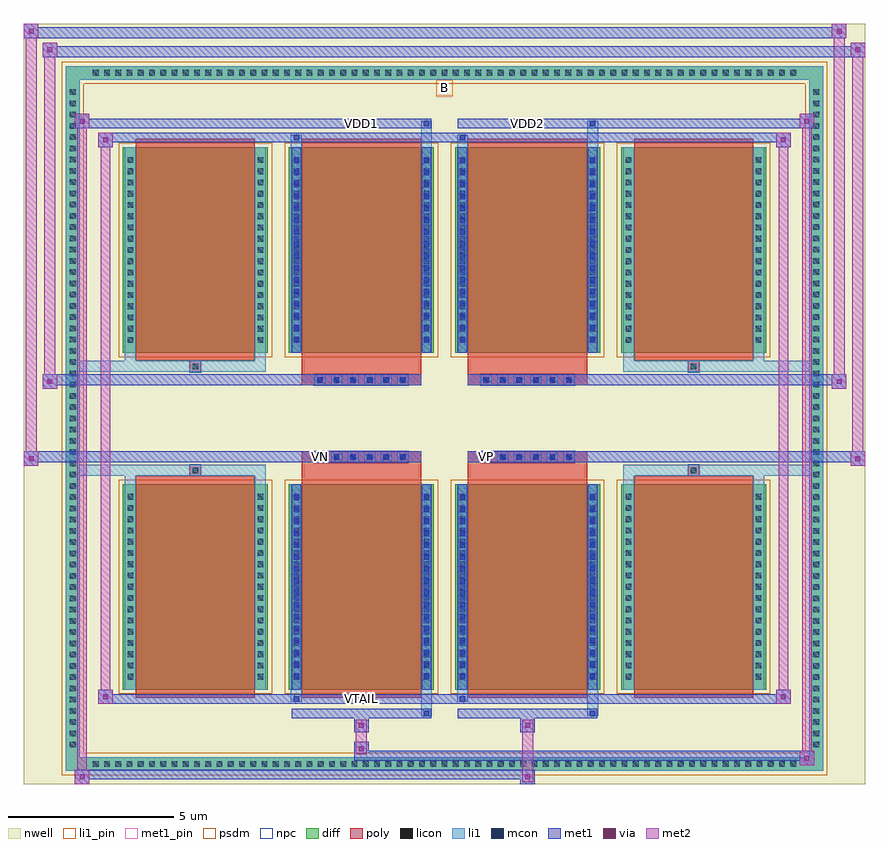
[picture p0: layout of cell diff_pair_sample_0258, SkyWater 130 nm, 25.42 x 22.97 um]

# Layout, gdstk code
import gdstk
lib = gdstk.Library(unit=1e-6, precision=5e-09)
def R(c, l, rs):  # rectangles x0, y0, x1, y1
    for r in rs: c.add(gdstk.rectangle(r[:2], r[2:], *l))
def A(c, l, x, y, w, h, nx, ny, dx, dy):  # array of equal rectangles
    R(c, l, [(x+i*dx, y+j*dy, x+i*dx+w, y+j*dy+h) for i in range(nx) for j in range(ny)])
def P(c, l, *ps):  # polygons
    for p in ps: c.add(gdstk.Polygon(p, *l))
nwell = (64, 20)
diff = (65, 20)
poly = (66, 20)
licon = (66, 44)
li1_pin = (67, 16)
li1 = (67, 20)
mcon = (67, 44)
met1_pin = (68, 16)
met1 = (68, 20)
via = (68, 44)
met2 = (69, 20)
psdm = (94, 20)
npc = (95, 20)

diff_pair_sample_0258 = lib.new_cell('diff_pair_sample_0258')
R(diff_pair_sample_0258, nwell, [(-12.71,-11.05,12.71,11.92), (-10.03,-9.24,-0.01,-0.8), (0.01,-9.24,10.03,-0.8), (-10.03,0.8,-0.01,9.24), (0.01,0.8,10.03,9.24)])
A(diff_pair_sample_0258, diff, -10.745, -10.65, 0.41, 0.41, 63, 2, 0.34, 20.89)
A(diff_pair_sample_0258, diff, -11.44, -10.065, 0.41, 0.41, 1, 59, 0, 0.34)
A(diff_pair_sample_0258, diff, 11.03, -10.065, 0.41, 0.41, 1, 59, 0, 0.34)
A(diff_pair_sample_0258, diff, -9.72, -8.195, 4.38, 6.21, 4, 2, 5.02, 10.18)
R(diff_pair_sample_0258, diff, [(-10.745,-10.65,10.745,-10.24), (-11.44,-10.065,-11.03,10.065), (11.03,-10.065,11.44,10.065), (-10.745,10.24,10.745,10.65)])
P(diff_pair_sample_0258, diff, [(11.44,10.65),(-11.44,10.65),(-11.44,-10.24),(-11.03,-10.24),(-11.03,10.24),(11.03,10.24),(11.03,-10.24),(-11.03,-10.24),(-11.44,-10.24),(-11.44,-10.65),(11.44,-10.65)])
A(diff_pair_sample_0258, poly, -9.33, -8.445, 3.6, 6.71, 4, 2, 5.02, 10.18)
A(diff_pair_sample_0258, poly, -3.925, -1.33, 0.33, 0.33, 6, 2, 0.5, 2.33)
A(diff_pair_sample_0258, poly, 1.095, -1.33, 0.33, 0.33, 6, 2, 0.5, 2.33)
R(diff_pair_sample_0258, poly, [(-7.695,-1.735,-7.365,-1.405), (-7.695,-1.735,-7.365,-1.405), (-4.31,-1.735,-0.71,-1.33), (0.71,-1.735,4.31,-1.33), (7.365,-1.735,7.695,-1.405), (7.365,-1.735,7.695,-1.405), (-4.31,-1.33,-0.71,-1), (0.71,-1.33,4.31,-1), (-4.31,1,-0.71,1.33), (0.71,1,4.31,1.33), (-4.31,1.33,-0.71,1.735), (0.71,1.33,4.31,1.735), (-7.695,1.405,-7.365,1.735), (-7.695,1.405,-7.365,1.735), (7.365,1.405,7.695,1.735), (7.365,1.405,7.695,1.735)])
A(diff_pair_sample_0258, licon, -10.625, -10.53, 0.17, 0.17, 63, 2, 0.34, 20.89)
A(diff_pair_sample_0258, licon, -11.32, -9.945, 0.17, 0.17, 1, 59, 0, 0.34)
A(diff_pair_sample_0258, licon, 11.15, -9.945, 0.17, 0.17, 1, 59, 0, 0.34)
A(diff_pair_sample_0258, licon, -9.58, -7.895, 0.17, 0.17, 1, 17, 0, 0.34)
A(diff_pair_sample_0258, licon, -5.65, -7.895, 0.17, 0.17, 1, 17, 0, 0.34)
A(diff_pair_sample_0258, licon, -4.56, -7.895, 0.17, 0.17, 1, 17, 0, 0.34)
A(diff_pair_sample_0258, licon, -0.63, -7.895, 0.17, 0.17, 1, 17, 0, 0.34)
A(diff_pair_sample_0258, licon, 0.46, -7.895, 0.17, 0.17, 1, 17, 0, 0.34)
A(diff_pair_sample_0258, licon, 4.39, -7.895, 0.17, 0.17, 1, 17, 0, 0.34)
A(diff_pair_sample_0258, licon, 5.48, -7.895, 0.17, 0.17, 1, 17, 0, 0.34)
A(diff_pair_sample_0258, licon, 9.41, -7.895, 0.17, 0.17, 1, 17, 0, 0.34)
A(diff_pair_sample_0258, licon, -3.845, -1.25, 0.17, 0.17, 6, 2, 0.5, 2.33)
A(diff_pair_sample_0258, licon, 1.175, -1.25, 0.17, 0.17, 6, 2, 0.5, 2.33)
A(diff_pair_sample_0258, licon, -9.58, 2.285, 0.17, 0.17, 1, 17, 0, 0.34)
A(diff_pair_sample_0258, licon, -5.65, 2.285, 0.17, 0.17, 1, 17, 0, 0.34)
A(diff_pair_sample_0258, licon, -4.56, 2.285, 0.17, 0.17, 1, 17, 0, 0.34)
A(diff_pair_sample_0258, licon, -0.63, 2.285, 0.17, 0.17, 1, 17, 0, 0.34)
A(diff_pair_sample_0258, licon, 0.46, 2.285, 0.17, 0.17, 1, 17, 0, 0.34)
A(diff_pair_sample_0258, licon, 4.39, 2.285, 0.17, 0.17, 1, 17, 0, 0.34)
A(diff_pair_sample_0258, licon, 5.48, 2.285, 0.17, 0.17, 1, 17, 0, 0.34)
A(diff_pair_sample_0258, licon, 9.41, 2.285, 0.17, 0.17, 1, 17, 0, 0.34)
R(diff_pair_sample_0258, licon, [(-7.615,-1.655,-7.445,-1.485), (7.445,-1.655,7.615,-1.485), (-7.615,1.485,-7.445,1.655), (7.445,1.485,7.615,1.655)])
R(diff_pair_sample_0258, li1_pin, [(-0.25,9.74,0.25,10.24)])
A(diff_pair_sample_0258, li1, -10.705, -10.61, 0.33, 0.33, 63, 2, 0.34, 20.89)
A(diff_pair_sample_0258, li1, -11.4, -10.025, 0.33, 0.33, 1, 59, 0, 0.34)
A(diff_pair_sample_0258, li1, 11.07, -10.025, 0.33, 0.33, 1, 59, 0, 0.34)
A(diff_pair_sample_0258, li1, -9.66, -7.975, 0.33, 0.33, 1, 17, 0, 0.34)
A(diff_pair_sample_0258, li1, -5.73, -7.975, 0.33, 0.33, 1, 17, 0, 0.34)
A(diff_pair_sample_0258, li1, -4.64, -7.975, 0.33, 0.33, 1, 17, 0, 0.34)
A(diff_pair_sample_0258, li1, -0.71, -7.975, 0.33, 0.33, 1, 17, 0, 0.34)
A(diff_pair_sample_0258, li1, 0.38, -7.975, 0.33, 0.33, 1, 17, 0, 0.34)
A(diff_pair_sample_0258, li1, 4.31, -7.975, 0.33, 0.33, 1, 17, 0, 0.34)
A(diff_pair_sample_0258, li1, 5.4, -7.975, 0.33, 0.33, 1, 17, 0, 0.34)
A(diff_pair_sample_0258, li1, 9.33, -7.975, 0.33, 0.33, 1, 17, 0, 0.34)
A(diff_pair_sample_0258, li1, -4.56, -7.875, 0.17, 0.17, 1, 16, 0, 0.36)
A(diff_pair_sample_0258, li1, -0.63, -7.875, 0.17, 0.17, 1, 16, 0, 0.36)
A(diff_pair_sample_0258, li1, 0.46, -7.875, 0.17, 0.17, 1, 16, 0, 0.36)
A(diff_pair_sample_0258, li1, 4.39, -7.875, 0.17, 0.17, 1, 16, 0, 0.36)
A(diff_pair_sample_0258, li1, -3.925, -1.33, 0.33, 0.33, 6, 2, 0.5, 2.33)
A(diff_pair_sample_0258, li1, 1.095, -1.33, 0.33, 0.33, 6, 2, 0.5, 2.33)
A(diff_pair_sample_0258, li1, -9.66, 2.205, 0.33, 0.33, 1, 17, 0, 0.34)
A(diff_pair_sample_0258, li1, -5.73, 2.205, 0.33, 0.33, 1, 17, 0, 0.34)
A(diff_pair_sample_0258, li1, -4.64, 2.205, 0.33, 0.33, 1, 17, 0, 0.34)
A(diff_pair_sample_0258, li1, -0.71, 2.205, 0.33, 0.33, 1, 17, 0, 0.34)
A(diff_pair_sample_0258, li1, 0.38, 2.205, 0.33, 0.33, 1, 17, 0, 0.34)
A(diff_pair_sample_0258, li1, 4.31, 2.205, 0.33, 0.33, 1, 17, 0, 0.34)
A(diff_pair_sample_0258, li1, 5.4, 2.205, 0.33, 0.33, 1, 17, 0, 0.34)
A(diff_pair_sample_0258, li1, 9.33, 2.205, 0.33, 0.33, 1, 17, 0, 0.34)
A(diff_pair_sample_0258, li1, -4.56, 2.305, 0.17, 0.17, 1, 16, 0, 0.36)
A(diff_pair_sample_0258, li1, -0.63, 2.305, 0.17, 0.17, 1, 16, 0, 0.36)
A(diff_pair_sample_0258, li1, 0.46, 2.305, 0.17, 0.17, 1, 16, 0, 0.36)
A(diff_pair_sample_0258, li1, 4.39, 2.305, 0.17, 0.17, 1, 16, 0, 0.36)
R(diff_pair_sample_0258, li1, [(-11.44,-10.65,-11.03,-10.24), (-11.44,-10.65,-11.03,-10.24), (-11.03,-10.65,11.03,-10.24), (11.03,-10.65,11.44,-10.24), (11.03,-10.65,11.44,-10.24), (-11.44,-10.24,-11.03,10.24), (11.03,-10.24,11.44,10.24), (-0.71,-9,-0.38,-8.195), (-0.63,-9,-0.46,-8.83), (4.31,-9,4.64,-8.195), (4.39,-9,4.56,-8.83), (-4.64,-8.57,-4.31,-8.195), (-4.56,-8.57,-4.39,-8.4), (0.38,-8.57,0.71,-8.195), (0.46,-8.57,0.63,-8.4), (-9.66,-8.195,-9.33,-1.985), (-5.73,-8.195,-5.4,-1.985), (-4.64,-8.195,-4.31,-1.985), (-0.71,-8.195,-0.38,-1.985), (0.38,-8.195,0.71,-1.985), (4.31,-8.195,4.64,-1.985), (5.4,-8.195,5.73,-1.985), (9.33,-8.195,9.66,-1.985), (-4.56,-7.875,-4.39,-2.305), (-0.63,-7.875,-0.46,-2.305), (0.46,-7.875,0.63,-2.305), (4.39,-7.875,4.56,-2.305), (-9.66,-1.985,-9.33,-1.405), (-5.73,-1.985,-5.4,-1.405), (5.4,-1.985,5.73,-1.405), (9.33,-1.985,9.66,-1.405), (-11.44,-1.735,-7.695,-1.405), (-9.66,-1.735,-7.695,-1.405), (-7.695,-1.735,-7.365,-1.405), (-7.365,-1.735,-5.4,-1.405), (5.4,-1.735,7.365,-1.405), (7.365,-1.735,7.695,-1.405), (7.365,-1.735,11.44,-1.405), (7.695,-1.735,9.66,-1.405), (-11.44,1.405,-7.695,1.735), (-9.66,1.405,-7.695,1.735), (-9.66,1.405,-9.33,1.985), (-7.695,1.405,-7.365,1.735), (-7.365,1.405,-5.4,1.735), (-5.73,1.405,-5.4,1.985), (5.4,1.405,7.365,1.735), (5.4,1.405,5.73,1.985), (7.365,1.405,7.695,1.735), (7.365,1.405,11.44,1.735), (7.695,1.405,9.66,1.735), (9.33,1.405,9.66,1.985), (-9.66,1.985,-9.33,8.195), (-5.73,1.985,-5.4,8.195), (-4.64,1.985,-4.31,8.195), (-0.71,1.985,-0.38,8.195), (0.38,1.985,0.71,8.195), (4.31,1.985,4.64,8.195), (5.4,1.985,5.73,8.195), (9.33,1.985,9.66,8.195), (-4.56,2.305,-4.39,7.875), (-0.63,2.305,-0.46,7.875), (0.46,2.305,0.63,7.875), (4.39,2.305,4.56,7.875), (-4.64,8.195,-4.31,8.57), (-0.71,8.195,-0.38,9), (0.38,8.195,0.71,8.57), (4.31,8.195,4.64,9), (-4.56,8.4,-4.39,8.57), (0.46,8.4,0.63,8.57), (-0.63,8.83,-0.46,9), (4.39,8.83,4.56,9), (-11.44,10.24,-11.03,10.65), (-11.44,10.24,-11.03,10.65), (-11.03,10.24,11.03,10.65), (11.03,10.24,11.44,10.65), (11.03,10.24,11.44,10.65)])
A(diff_pair_sample_0258, mcon, -4.56, -7.875, 0.17, 0.17, 1, 16, 0, 0.36)
A(diff_pair_sample_0258, mcon, -0.63, -7.875, 0.17, 0.17, 1, 16, 0, 0.36)
A(diff_pair_sample_0258, mcon, 0.46, -7.875, 0.17, 0.17, 1, 16, 0, 0.36)
A(diff_pair_sample_0258, mcon, 4.39, -7.875, 0.17, 0.17, 1, 16, 0, 0.36)
A(diff_pair_sample_0258, mcon, -3.845, -1.25, 0.17, 0.17, 6, 2, 0.5, 2.33)
A(diff_pair_sample_0258, mcon, 1.175, -1.25, 0.17, 0.17, 6, 2, 0.5, 2.33)
A(diff_pair_sample_0258, mcon, -4.56, 2.305, 0.17, 0.17, 1, 16, 0, 0.36)
A(diff_pair_sample_0258, mcon, -0.63, 2.305, 0.17, 0.17, 1, 16, 0, 0.36)
A(diff_pair_sample_0258, mcon, 0.46, 2.305, 0.17, 0.17, 1, 16, 0, 0.36)
A(diff_pair_sample_0258, mcon, 4.39, 2.305, 0.17, 0.17, 1, 16, 0, 0.36)
R(diff_pair_sample_0258, mcon, [(-0.63,-9,-0.46,-8.83), (4.39,-9,4.56,-8.83), (-4.56,-8.57,-4.39,-8.4), (0.46,-8.57,0.63,-8.4), (-4.56,8.4,-4.39,8.57), (0.46,8.4,0.63,8.57), (-0.63,8.83,-0.46,9), (4.39,8.83,4.56,9)])
R(diff_pair_sample_0258, met1_pin, [(-2.645,-8.61,-2.375,-8.34), (-3.895,-1.29,-3.625,-1.02), (1.125,-1.29,1.395,-1.02), (-2.645,8.79,-2.375,9.06), (2.375,8.79,2.645,9.06)])
A(diff_pair_sample_0258, met1, -4.62, -7.935, 0.29, 0.29, 1, 16, 0, 0.36)
A(diff_pair_sample_0258, met1, -0.69, -7.935, 0.29, 0.29, 1, 16, 0, 0.36)
A(diff_pair_sample_0258, met1, 0.4, -7.935, 0.29, 0.29, 1, 16, 0, 0.36)
A(diff_pair_sample_0258, met1, 4.33, -7.935, 0.29, 0.29, 1, 16, 0, 0.36)
A(diff_pair_sample_0258, met1, -3.905, -1.31, 0.29, 0.29, 6, 2, 0.5, 2.33)
A(diff_pair_sample_0258, met1, 1.115, -1.31, 0.29, 0.29, 6, 2, 0.5, 2.33)
A(diff_pair_sample_0258, met1, -4.62, 2.245, 0.29, 0.29, 1, 16, 0, 0.36)
A(diff_pair_sample_0258, met1, -0.69, 2.245, 0.29, 0.29, 1, 16, 0, 0.36)
A(diff_pair_sample_0258, met1, 0.4, 2.245, 0.29, 0.29, 1, 16, 0, 0.36)
A(diff_pair_sample_0258, met1, 4.33, 2.245, 0.29, 0.29, 1, 16, 0, 0.36)
R(diff_pair_sample_0258, met1, [(-11.17,-11.05,-10.74,-10.62), (2.295,-11.05,2.725,-10.62), (-11.17,-10.91,2.725,-10.62), (10.74,-10.48,11.17,-10.05), (-2.725,-10.34,11.17,-10.05), (-2.725,-10.2,-2.295,-9.77), (-2.725,-9.49,-2.295,-9.06), (2.295,-9.49,2.725,-9.06), (-4.62,-9.06,-0.4,-8.77), (-0.69,-9.06,-0.4,-8.77), (0.4,-9.06,4.62,-8.77), (4.33,-9.06,4.62,-8.77), (-10.46,-8.63,-10.03,-8.2), (-10.46,-8.63,-4.62,-8.34), (-4.62,-8.63,-4.33,-8.34), (-4.62,-8.63,-0.4,-8.34), (-0.4,-8.63,0.4,-8.34), (0.4,-8.63,0.69,-8.34), (0.4,-8.63,4.62,-8.34), (4.62,-8.63,10.46,-8.34), (10.03,-8.63,10.46,-8.2), (-4.62,-8.195,-4.33,-1.985), (-0.69,-8.195,-0.4,-1.985), (0.4,-8.195,0.69,-1.985), (4.33,-8.195,4.62,-1.985), (-12.71,-1.43,-12.28,-1), (12.28,-1.43,12.71,-1), (-12.71,-1.33,-0.71,-1), (-4.31,-1.33,-0.71,-1), (0.71,-1.33,4.31,-1), (0.71,-1.33,12.71,-1), (-12.14,0.9,-11.71,1.33), (11.71,0.9,12.14,1.33), (-12.14,1,-4.31,1.33), (-4.31,1,-0.71,1.33), (0.71,1,4.31,1.33), (4.31,1,12.14,1.33), (-4.62,1.985,-4.33,8.195), (-0.69,1.985,-0.4,8.195), (0.4,1.985,0.69,8.195), (4.33,1.985,4.62,8.195), (-10.46,8.2,-10.03,8.63), (10.03,8.2,10.46,8.63), (-10.46,8.34,-4.62,8.63), (-4.62,8.34,-4.33,8.63), (-4.62,8.34,-0.4,8.63), (-0.4,8.34,0.4,8.63), (0.4,8.34,0.69,8.63), (0.4,8.34,4.62,8.63), (4.62,8.34,10.46,8.63), (-11.17,8.77,-10.74,9.2), (-11.17,8.77,-4.62,9.06), (-4.62,8.77,-0.4,9.06), (-0.69,8.77,-0.4,9.06), (0.4,8.77,4.62,9.06), (4.33,8.77,4.62,9.06), (4.62,8.77,11.17,9.06), (10.74,8.77,11.17,9.2), (-12.14,10.92,-11.71,11.35), (-12.14,10.92,-10.03,11.25), (-10.03,10.92,10.03,11.25), (10.03,10.92,12.71,11.25), (12.28,10.92,12.71,11.35), (-12.71,11.49,-12.28,11.92), (-12.71,11.49,-10.03,11.82), (-10.03,11.49,10.03,11.82), (10.03,11.49,12.14,11.82), (11.71,11.49,12.14,11.92)])
R(diff_pair_sample_0258, via, [(-11.03,-10.91,-10.88,-10.76), (2.435,-10.91,2.585,-10.76), (10.88,-10.34,11.03,-10.19), (-2.585,-10.06,-2.435,-9.91), (-2.585,-9.35,-2.435,-9.2), (2.435,-9.35,2.585,-9.2), (-10.32,-8.49,-10.17,-8.34), (10.17,-8.49,10.32,-8.34), (-12.57,-1.29,-12.42,-1.14), (12.42,-1.29,12.57,-1.14), (-12,1.04,-11.85,1.19), (11.85,1.04,12,1.19), (-10.32,8.34,-10.17,8.49), (10.17,8.34,10.32,8.49), (-11.03,8.91,-10.88,9.06), (10.88,8.91,11.03,9.06), (-12,11.06,-11.85,11.21), (12.42,11.06,12.57,11.21), (-12.57,11.63,-12.42,11.78), (11.85,11.63,12,11.78)])
R(diff_pair_sample_0258, met2, [(-11.17,-11.05,-10.74,-10.62), (-11.1,-11.05,-10.81,9.2), (-10.81,-11.05,-10.74,-10.62), (-11.12,-11,-10.79,-10.67), (2.345,-11,2.675,-10.67), (2.345,-10.67,2.675,-9.44), (10.74,-10.48,11.17,-10.05), (10.81,-10.48,11.1,9.2), (11.1,-10.48,11.17,-10.05), (10.79,-10.43,11.12,-10.1), (-2.675,-10.15,-2.345,-9.82), (-2.675,-9.82,-2.345,-9.44), (-2.675,-9.44,-2.345,-9.11), (2.345,-9.44,2.675,-9.11), (-10.46,-8.63,-10.03,-8.2), (-10.39,-8.63,-10.1,8.63), (-10.1,-8.63,-10.03,-8.2), (10.03,-8.63,10.46,-8.2), (10.1,-8.63,10.39,8.63), (10.39,-8.63,10.46,-8.2), (-10.41,-8.58,-10.08,-8.25), (10.08,-8.58,10.41,-8.25), (-12.71,-1.43,-12.28,-1), (-12.66,-1.43,-12.33,11.92), (-12.33,-1.43,-12.28,-1), (12.28,-1.43,12.71,-1), (12.33,-1.43,12.66,11.35), (12.66,-1.43,12.71,-1), (-12.66,-1.38,-12.33,-1.05), (12.33,-1.38,12.66,-1.05), (-12.14,0.9,-11.71,1.33), (-12.09,0.9,-11.76,11.35), (-11.76,0.9,-11.71,1.33), (11.71,0.9,12.14,1.33), (11.76,0.9,12.09,11.92), (12.09,0.9,12.14,1.33), (-12.09,0.95,-11.76,1.28), (11.76,0.95,12.09,1.28), (-10.46,8.2,-10.03,8.63), (-10.1,8.2,-10.03,8.63), (10.03,8.2,10.46,8.63), (10.39,8.2,10.46,8.63), (-10.41,8.25,-10.08,8.58), (10.08,8.25,10.41,8.58), (-11.17,8.77,-10.74,9.2), (-10.81,8.77,-10.74,9.2), (10.74,8.77,11.17,9.2), (11.1,8.77,11.17,9.2), (-11.12,8.82,-10.79,9.15), (10.79,8.82,11.12,9.15), (-12.14,10.92,-11.71,11.35), (-11.76,10.92,-11.71,11.35), (12.28,10.92,12.71,11.35), (12.66,10.92,12.71,11.35), (-12.09,10.97,-11.76,11.3), (12.33,10.97,12.66,11.3), (-12.71,11.49,-12.28,11.92), (-12.33,11.49,-12.28,11.92), (11.71,11.49,12.14,11.92), (12.09,11.49,12.14,11.92), (-12.66,11.54,-12.33,11.87), (11.76,11.54,12.09,11.87)])
A(diff_pair_sample_0258, psdm, -9.85, -8.325, 4.64, 6.47, 4, 2, 5.02, 10.18)
P(diff_pair_sample_0258, psdm, [(11.57,10.78),(-11.57,10.78),(-11.57,-10.11),(-10.9,-10.11),(-10.9,10.11),(10.9,10.11),(10.9,-10.11),(-10.9,-10.11),(-11.57,-10.11),(-11.57,-10.78),(11.57,-10.78)])
A(diff_pair_sample_0258, npc, -3.945, -1.35, 0.37, 0.37, 6, 2, 0.5, 2.33)
A(diff_pair_sample_0258, npc, 1.075, -1.35, 0.37, 0.37, 6, 2, 0.5, 2.33)
R(diff_pair_sample_0258, npc, [(-7.715,-1.755,-7.345,-1.385), (7.345,-1.755,7.715,-1.385), (-3.945,-1.35,-3.075,-0.98), (-3.945,-1.35,-3.075,-0.98), (-3.445,-1.35,-2.575,-0.98), (-3.445,-1.35,-2.575,-0.98), (-2.945,-1.35,-2.075,-0.98), (-2.945,-1.35,-2.075,-0.98), (-2.445,-1.35,-1.575,-0.98), (-2.445,-1.35,-1.575,-0.98), (-1.945,-1.35,-1.075,-0.98), (-1.945,-1.35,-1.075,-0.98), (1.075,-1.35,1.945,-0.98), (1.075,-1.35,1.945,-0.98), (1.575,-1.35,2.445,-0.98), (1.575,-1.35,2.445,-0.98), (2.075,-1.35,2.945,-0.98), (2.075,-1.35,2.945,-0.98), (2.575,-1.35,3.445,-0.98), (2.575,-1.35,3.445,-0.98), (3.075,-1.35,3.945,-0.98), (3.075,-1.35,3.945,-0.98), (-3.945,0.98,-3.075,1.35), (-3.945,0.98,-3.075,1.35), (-3.445,0.98,-2.575,1.35), (-3.445,0.98,-2.575,1.35), (-2.945,0.98,-2.075,1.35), (-2.945,0.98,-2.075,1.35), (-2.445,0.98,-1.575,1.35), (-2.445,0.98,-1.575,1.35), (-1.945,0.98,-1.075,1.35), (-1.945,0.98,-1.075,1.35), (1.075,0.98,1.945,1.35), (1.075,0.98,1.945,1.35), (1.575,0.98,2.445,1.35), (1.575,0.98,2.445,1.35), (2.075,0.98,2.945,1.35), (2.075,0.98,2.945,1.35), (2.575,0.98,3.445,1.35), (2.575,0.98,3.445,1.35), (3.075,0.98,3.945,1.35), (3.075,0.98,3.945,1.35), (-7.715,1.385,-7.345,1.755), (7.345,1.385,7.715,1.755)])
diff_pair_sample_0258.add(gdstk.Label('VTAIL', (-2.51,-8.475), layer=68, texttype=5))
diff_pair_sample_0258.add(gdstk.Label('VN', (-3.76,-1.155), layer=68, texttype=5))
diff_pair_sample_0258.add(gdstk.Label('VP', (1.26,-1.155), layer=68, texttype=5))
diff_pair_sample_0258.add(gdstk.Label('B', (0,9.99), layer=67, texttype=5))
diff_pair_sample_0258.add(gdstk.Label('VDD2', (2.51,8.925), layer=68, texttype=5))
diff_pair_sample_0258.add(gdstk.Label('VDD1', (-2.51,8.925), layer=68, texttype=5))

lib.write_gds('diff_pair_sample_0258.gds')
